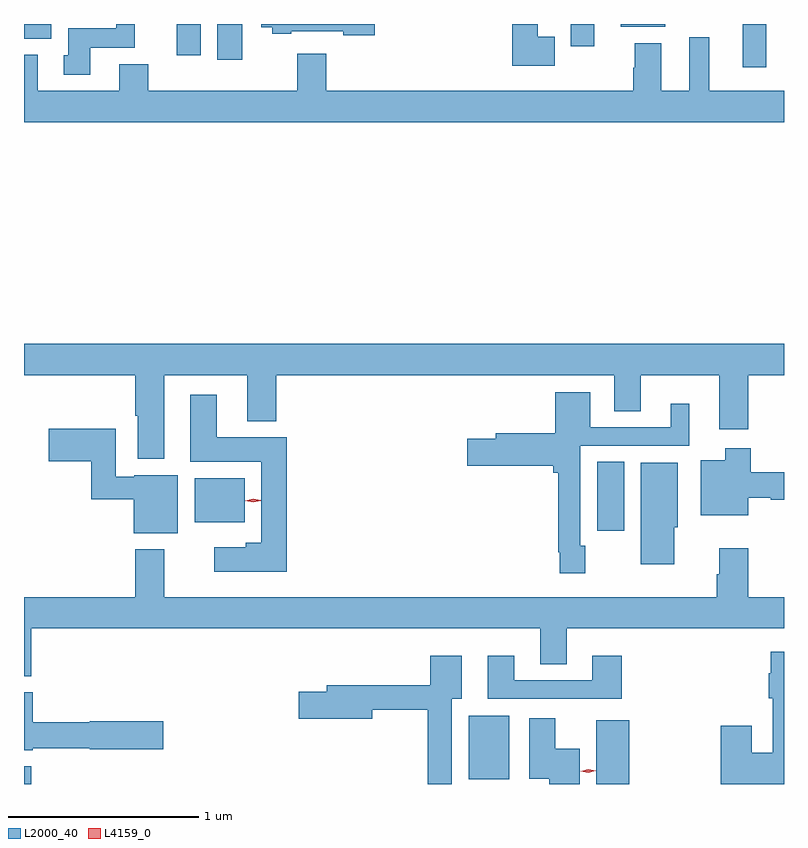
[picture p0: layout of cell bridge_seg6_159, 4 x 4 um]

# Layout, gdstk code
import gdstk
lib = gdstk.Library(unit=1e-6, precision=1e-09)
def R(c, l, rs):  # rectangles x0, y0, x1, y1
    for r in rs: c.add(gdstk.rectangle(r[:2], r[2:], *l))
def P(c, l, *ps):  # polygons
    for p in ps: c.add(gdstk.Polygon(p, *l))
L2000_40 = (2000, 40)
L4159_0 = (4159, 0)

bridge_seg6_159 = lib.new_cell('bridge_seg6_159')
R(bridge_seg6_159, L2000_40, [(602.785,954.508,602.822,954.601), (605.798,954.508,605.971,954.844), (605.126,954.533,605.338,954.868), (605.801,955.842,605.944,956.204), (603.683,955.886,603.946,956.116), (606.569,958.281,606.691,958.508), (603.803,958.32,603.934,958.508), (603.59,958.344,603.715,958.508), (605.663,958.392,605.785,958.508), (602.785,958.43,602.929,958.508), (605.927,958.493,606.16,958.508)])
P(bridge_seg6_159, L2000_40, [(605.578,958.441),(605.488,958.441),(605.488,958.508),(605.354,958.508),(605.354,958.289),(605.578,958.289)],
  [(604.631,958.508),(604.034,958.508),(604.034,958.49),(604.092,958.49),(604.092,958.458),(604.192,958.458),(604.192,958.47),(604.464,958.47),(604.464,958.45),(604.631,958.45)],
  [(603.133,958.382),(603.369,958.382),(603.369,958.508),(603.27,958.508),(603.27,958.486),(603.017,958.486),(603.017,958.344),(602.993,958.344),(602.993,958.242),(603.133,958.242)],
  [(606.785,958.156),(606.391,958.156),(606.391,958.438),(606.287,958.438),(606.287,958.156),(606.139,958.156),(606.139,958.408),(605.999,958.408),(605.999,958.277),(605.992,958.277),(605.992,958.156),(604.376,958.156),(604.376,958.351),(604.223,958.351),(604.223,958.156),(603.44,958.156),(603.44,958.297),(603.287,958.297),(603.287,958.156),(602.857,958.156),(602.857,958.345),(602.785,958.345),(602.785,957.992),(606.785,957.992)],
  [(603.523,956.66),(603.959,956.66),(603.959,956.417),(604.112,956.417),(604.112,956.66),(605.891,956.66),(605.891,956.47),(606.031,956.47),(606.031,956.66),(606.443,956.66),(606.443,956.376),(606.596,956.376),(606.596,956.66),(606.785,956.66),(606.785,956.824),(602.785,956.824),(602.785,956.66),(603.371,956.66),(603.371,956.445),(603.383,956.445),(603.383,956.219),(603.523,956.219)],
  [(605.739,955.761),(605.712,955.761),(605.712,956.289),(606.286,956.289),(606.286,956.509),(606.188,956.509),(606.188,956.385),(605.764,956.385),(605.764,956.569),(605.582,956.569),(605.582,956.355),(605.267,956.355),(605.267,956.325),(605.118,956.325),(605.118,956.183),(605.57,956.183),(605.57,956.147),(605.596,956.147),(605.596,955.729),(605.604,955.729),(605.604,955.617),(605.739,955.617)],
  [(604.169,956.332),(603.799,956.332),(603.799,956.557),(603.659,956.557),(603.659,956.204),(604.034,956.204),(604.034,955.777),(603.951,955.777),(603.951,955.753),(603.786,955.753),(603.786,955.625),(604.169,955.625)],
  [(603.595,956.134),(603.366,956.134),(603.366,956.124),(603.268,956.124),(603.268,956.377),(602.916,956.377),(602.916,956.207),(603.139,956.207),(603.139,956.008),(603.362,956.008),(603.362,955.829),(603.595,955.829)],
  [(606.598,956.015),(606.714,956.015),(606.714,956.003),(606.785,956.003),(606.785,956.15),(606.611,956.15),(606.611,956.275),(606.476,956.275),(606.476,956.212),(606.347,956.212),(606.347,955.922),(606.598,955.922)],
  [(606.208,955.86),(606.226,955.86),(606.226,956.2),(606.032,956.2),(606.032,955.664),(606.208,955.664)],
  [(602.822,955.328),(605.501,955.328),(605.501,955.138),(605.641,955.138),(605.641,955.328),(606.785,955.328),(606.785,955.492),(606.596,955.492),(606.596,955.75),(606.443,955.75),(606.443,955.613),(606.431,955.613),(606.431,955.492),(603.523,955.492),(603.523,955.744),(603.371,955.744),(603.371,955.492),(602.785,955.492),(602.785,955.076),(602.822,955.076)],
  [(606.785,955.204),(606.714,955.204),(606.714,955.091),(606.706,955.091),(606.706,954.959),(606.726,954.959),(606.726,954.673),(606.616,954.673),(606.616,954.814),(606.451,954.814),(606.451,954.508),(606.785,954.508)],
  [(605.93,955.183),(605.777,955.183),(605.777,955.053),(605.365,955.053),(605.365,955.183),(605.225,955.183),(605.225,954.957),(605.93,954.957)],
  [(605.035,954.956),(605.089,954.956),(605.089,955.183),(604.922,955.183),(604.922,955.027),(604.379,955.027),(604.379,954.993),(604.23,954.993),(604.23,954.851),(604.618,954.851),(604.618,954.898),(604.91,954.898),(604.91,954.508),(605.035,954.508)],
  [(602.83,954.697),(603.132,954.697),(603.132,954.692),(603.517,954.692),(603.517,954.839),(603.132,954.839),(603.132,954.833),(602.83,954.833),(602.83,954.991),(602.785,954.991),(602.785,954.686),(602.83,954.686)],
  [(605.71,954.694),(605.581,954.694),(605.581,954.853),(605.444,954.853),(605.444,954.536),(605.549,954.536),(605.549,954.508),(605.71,954.508)])
P(bridge_seg6_159, L4159_0, [(605.755,954.566),(605.715,954.575),(605.715,954.575),(605.715,954.575),(605.754,954.586),(605.794,954.578),(605.794,954.577),(605.794,954.577)],
  [(603.991,955.99),(603.95,956),(603.95,956),(603.95,956),(603.991,956.01),(604.031,956.001),(604.032,956.001),(604.031,956)])

lib.write_gds('bridge_seg6_159.gds')
